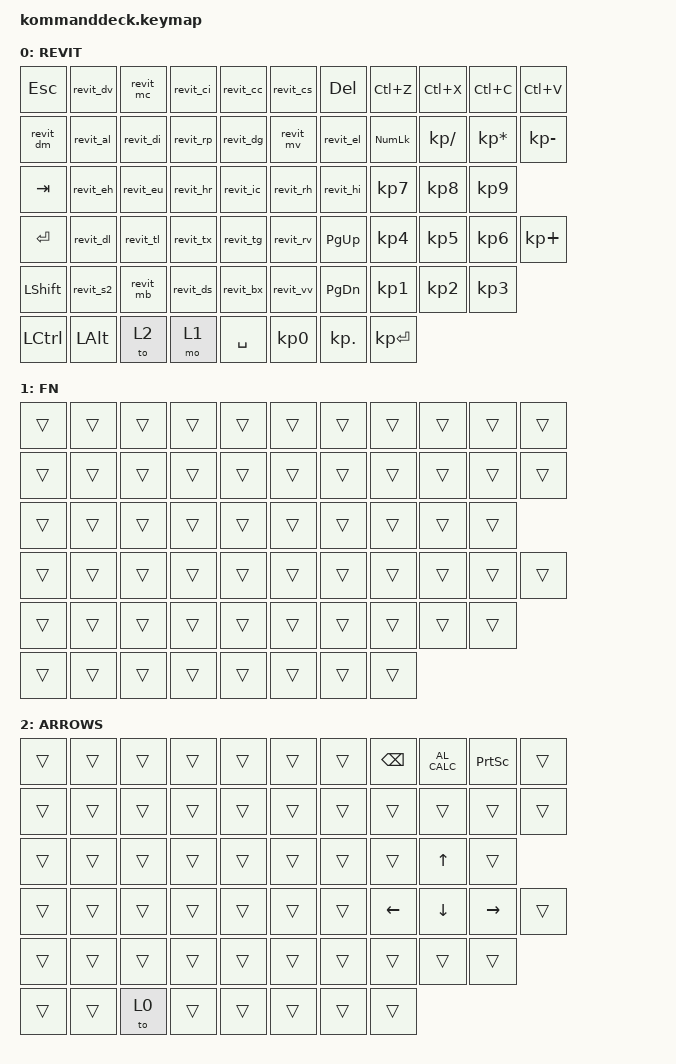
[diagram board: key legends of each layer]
#include <behaviors.dtsi>
#include <dt-bindings/zmk/keys.h>
#include <dt-bindings/zmk/bt.h>

/ {
    macros {
        revit_dv: revit_dv {
            compatible = "zmk,behavior-macro";
            #binding-cells = <0>;
            bindings = <&kp D &kp V>;
        };
        revit_mc: revit_mc {
            compatible = "zmk,behavior-macro";
            #binding-cells = <0>;
            bindings = <&kp M &kp C>;
        };
        revit_ci: revit_ci {
            compatible = "zmk,behavior-macro";
            #binding-cells = <0>;
            bindings = <&kp C &kp I>;
        };
        revit_cc: revit_cc {
            compatible = "zmk,behavior-macro";
            #binding-cells = <0>;
            bindings = <&kp C &kp C>;
        };
        revit_cs: revit_cs {
            compatible = "zmk,behavior-macro";
            #binding-cells = <0>;
            bindings = <&kp C &kp S>;
        };
        revit_dm: revit_dm {
            compatible = "zmk,behavior-macro";
            #binding-cells = <0>;
            bindings = <&kp D &kp M>;
        };
        revit_al: revit_al {
            compatible = "zmk,behavior-macro";
            #binding-cells = <0>;
            bindings = <&kp A &kp L>;
        };
        revit_di: revit_di {
            compatible = "zmk,behavior-macro";
            #binding-cells = <0>;
            bindings = <&kp D &kp I>;
        };
        revit_rp: revit_rp {
            compatible = "zmk,behavior-macro";
            #binding-cells = <0>;
            bindings = <&kp R &kp P>;
        };
        revit_dg: revit_dg {
            compatible = "zmk,behavior-macro";
            #binding-cells = <0>;
            bindings = <&kp D &kp G>;
        };
        revit_mv: revit_mv {
            compatible = "zmk,behavior-macro";
            #binding-cells = <0>;
            bindings = <&kp M &kp V>;
        };
        revit_el: revit_el {
            compatible = "zmk,behavior-macro";
            #binding-cells = <0>;
            bindings = <&kp E &kp L>;
        };
        revit_eh: revit_eh {
            compatible = "zmk,behavior-macro";
            #binding-cells = <0>;
            bindings = <&kp E &kp H>;
        };
        revit_eu: revit_eu {
            compatible = "zmk,behavior-macro";
            #binding-cells = <0>;
            bindings = <&kp E &kp U>;
        };
        revit_hr: revit_hr {
            compatible = "zmk,behavior-macro";
            #binding-cells = <0>;
            bindings = <&kp H &kp R>;
        };
        revit_ic: revit_ic {
            compatible = "zmk,behavior-macro";
            #binding-cells = <0>;
            bindings = <&kp I &kp C>;
        };
        revit_rh: revit_rh {
            compatible = "zmk,behavior-macro";
            #binding-cells = <0>;
            bindings = <&kp R &kp H>;
        };
        revit_hi: revit_hi {
            compatible = "zmk,behavior-macro";
            #binding-cells = <0>;
            bindings = <&kp H &kp I>;
        };
        revit_dl: revit_dl {
            compatible = "zmk,behavior-macro";
            #binding-cells = <0>;
            bindings = <&kp D &kp L>;
        };
        revit_tl: revit_tl {
            compatible = "zmk,behavior-macro";
            #binding-cells = <0>;
            bindings = <&kp T &kp L>;
        };
        revit_tx: revit_tx {
            compatible = "zmk,behavior-macro";
            #binding-cells = <0>;
            bindings = <&kp T &kp X>;
        };
        revit_tg: revit_tg {
            compatible = "zmk,behavior-macro";
            #binding-cells = <0>;
            bindings = <&kp T &kp G>;
        };
        revit_rv: revit_rv {
            compatible = "zmk,behavior-macro";
            #binding-cells = <0>;
            bindings = <&kp R &kp V>;
        };
        revit_s2: revit_s2 {
            compatible = "zmk,behavior-macro";
            #binding-cells = <0>;
            bindings = <&kp S &kp N2>;
        };
        revit_mb: revit_mb {
            compatible = "zmk,behavior-macro";
            #binding-cells = <0>;
            bindings = <&kp M &kp B>;
        };
        revit_bx: revit_bx {
            compatible = "zmk,behavior-macro";
            #binding-cells = <0>;
            bindings = <&kp B &kp X>;
        };
        revit_vv: revit_vv {
            compatible = "zmk,behavior-macro";
            #binding-cells = <0>;
            bindings = <&kp V &kp V>;
        };
        revit_ds: revit_ds {
            compatible = "zmk,behavior-macro";
            #binding-cells = <0>;
            bindings = <&kp LS(N4)>;
        };
        /* NEW macros: copy a node above, rename it, then swap the &none in the layer */
    };

    keymap {
        compatible = "zmk,keymap";

        base_layer {
            label = "REVIT";
            bindings = <
/* r0 */ &kp ESC     &revit_dv   &revit_mc   &revit_ci   &revit_cc   &revit_cs   &kp DEL    &kp LC(Z)    &kp LC(X)       &kp LC(C)   &kp LC(V)
/* r1 */ &revit_dm      &revit_al   &revit_di   &revit_rp    &revit_dg   &revit_mv   &revit_el     &kp KP_NUMLOCK &kp KP_DIVIDE   &kp KP_MULTIPLY &kp KP_MINUS
/* r2 */ &kp TAB     &revit_eh   &revit_eu   &revit_hr    &revit_ic   &revit_rh   &revit_hi     &kp KP_N7    &kp KP_N8       &kp KP_N9
/* r3 */ &kp RET     &revit_dl   &revit_tl   &revit_tx    &revit_tg   &revit_rv   &kp PG_UP  &kp KP_N4    &kp KP_N5       &kp KP_N6   &kp KP_PLUS
/* r4 */ &kp LSHIFT  &revit_s2   &revit_mb   &revit_ds &revit_bx   &revit_vv   &kp PG_DN  &kp KP_N1    &kp KP_N2       &kp KP_N3
/* r5 */ &kp LCTRL   &kp LALT &to 2    &mo 1     &kp SPACE                      &kp KP_N0    &kp KP_DOT      &kp KP_ENTER
            >;
        };

        fn_layer {
            label = "FN";
            bindings = <
            /* r0 */ &trans &trans &trans &trans &trans &trans &trans &trans &trans &trans &trans
            /* r1 */ &trans &trans &trans &trans &trans &trans &trans &trans &trans &trans &trans
            /* r2 */ &trans &trans &trans &trans &trans &trans &trans &trans &trans &trans
            /* r3 */ &trans &trans &trans &trans &trans &trans &trans &trans &trans &trans &trans
            /* r4 */ &trans &trans &trans &trans &trans &trans &trans &trans &trans &trans
            /* r5 */ &trans &trans &trans &trans &trans &trans &trans &trans
            >;
        };
        arrows_layer {
            label = "ARROWS";
            bindings = <
            /* r0 */ &trans &trans &trans &trans &trans &trans &trans &kp BSPC &kp C_AL_CALC &kp PSCRN &trans
            /* r1 */ &trans &trans &trans &trans &trans &trans &trans &trans &trans &trans &trans
            /* r2 */ &trans &trans &trans &trans &trans &trans &trans &trans &kp UP &trans
            /* r3 */ &trans &trans &trans &trans &trans &trans &trans &kp LEFT &kp DOWN &kp RIGHT &trans
            /* r4 */ &trans &trans &trans &trans &trans &trans &trans &trans &trans &trans
            /* r5 */ &trans &trans &to 0 &trans &trans &trans &trans &trans
            >;
        };
    };
};
